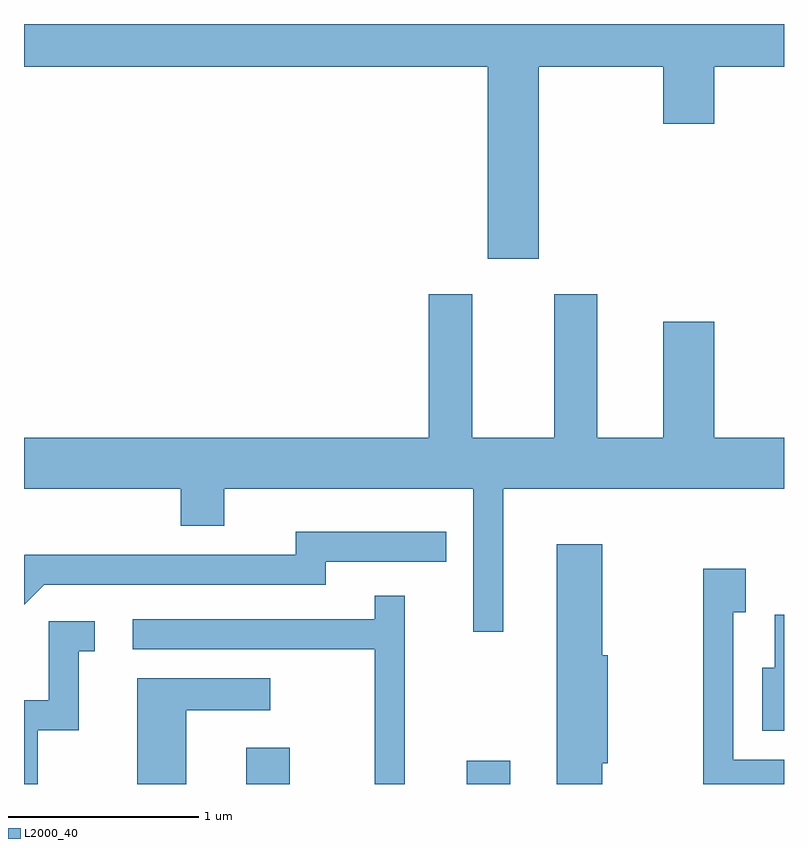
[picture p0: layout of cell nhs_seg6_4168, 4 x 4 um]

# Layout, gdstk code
import gdstk
lib = gdstk.Library(unit=1e-6, precision=1e-09)
def R(c, l, rs):  # rectangles x0, y0, x1, y1
    for r in rs: c.add(gdstk.rectangle(r[:2], r[2:], *l))
def P(c, l, *ps):  # polygons
    for p in ps: c.add(gdstk.Polygon(p, *l))
L2000_40 = (2000, 40)

nhs_seg6_4168 = lib.new_cell('nhs_seg6_4168')
R(nhs_seg6_4168, L2000_40, [(312.781,1646.162,313.009,1646.354), (313.941,1646.162,314.169,1646.284)])
P(nhs_seg6_4168, L2000_40, [(314.319,1649.936),(314.976,1649.936),(314.976,1649.636),(315.244,1649.636),(315.244,1649.936),(315.611,1649.936),(315.611,1650.162),(311.611,1650.162),(311.611,1649.936),(314.051,1649.936),(314.051,1648.926),(314.319,1648.926)],
  [(314.134,1647.716),(315.611,1647.716),(315.611,1647.984),(315.244,1647.984),(315.244,1648.594),(314.976,1648.594),(314.976,1647.984),(314.629,1647.984),(314.629,1648.739),(314.401,1648.739),(314.401,1647.984),(313.969,1647.984),(313.969,1648.739),(313.741,1648.739),(313.741,1647.984),(311.611,1647.984),(311.611,1647.716),(312.436,1647.716),(312.436,1647.521),(312.664,1647.521),(312.664,1647.716),(313.976,1647.716),(313.976,1646.963),(314.134,1646.963)],
  [(311.717,1647.211),(313.199,1647.211),(313.199,1647.331),(313.833,1647.331),(313.833,1647.489),(313.041,1647.489),(313.041,1647.369),(311.614,1647.369),(311.611,1647.366),(311.611,1647.106)],
  [(314.654,1646.271),(314.684,1646.271),(314.684,1646.839),(314.654,1646.839),(314.654,1647.424),(314.416,1647.424),(314.416,1646.162),(314.654,1646.162)],
  [(315.611,1646.289),(315.344,1646.289),(315.344,1647.066),(315.409,1647.066),(315.409,1647.294),(315.186,1647.294),(315.186,1646.162),(315.611,1646.162)],
  [(313.614,1647.153),(313.456,1647.153),(313.456,1647.029),(312.183,1647.029),(312.183,1646.871),(313.456,1646.871),(313.456,1646.162),(313.614,1646.162)],
  [(315.611,1647.054),(315.561,1647.054),(315.561,1646.774),(315.496,1646.774),(315.496,1646.441),(315.611,1646.441)],
  [(311.684,1646.446),(311.899,1646.446),(311.899,1646.861),(311.983,1646.861),(311.983,1647.019),(311.741,1647.019),(311.741,1646.604),(311.611,1646.604),(311.611,1646.162),(311.684,1646.162)],
  [(312.464,1646.551),(312.908,1646.551),(312.908,1646.719),(312.206,1646.719),(312.206,1646.162),(312.464,1646.162)])

lib.write_gds('nhs_seg6_4168.gds')
